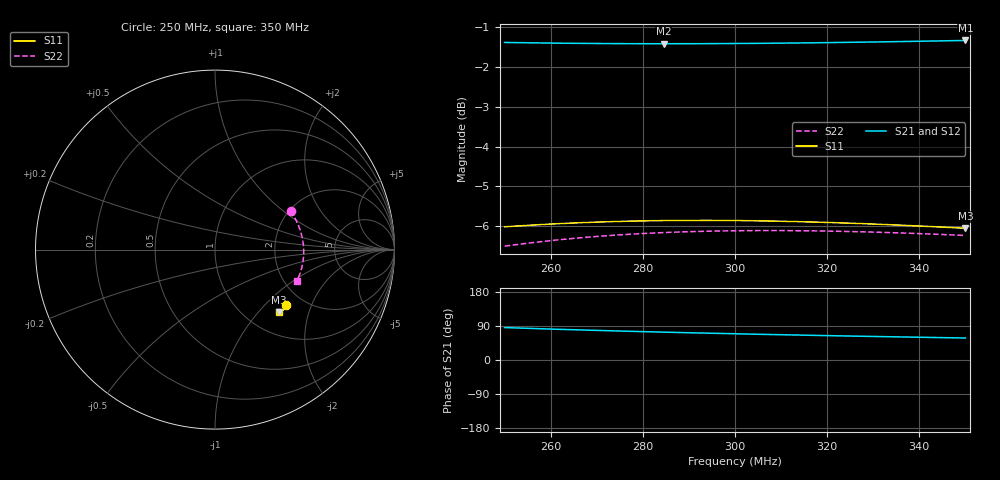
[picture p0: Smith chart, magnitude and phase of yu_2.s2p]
! Created Mon Nov 27 15:34:35 2023
# hz S ma R 50
! 2 Port Network Data from SP1.SP block
! freq  magS11  angS11  magS21  angS21  magS12  angS12  magS22  angS22
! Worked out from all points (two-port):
!   201 points, 250 MHz to 350 MHz, reference 50 ohm
!   highest |S21| = -1.34 dB at 350 MHz (marker M1); lowest = -1.4 dB at 284.5 MHz (marker M2)
!   |S21| within 3 dB of the highest: start of sweep to end of sweep
!   lowest |S11| = -6.1 dB at 350 MHz (marker M3), VSWR 2.99, Z = 70 - j65 ohm
!   |S11| at or under -10 dB: nowhere
!   |S22| runs from -6.5 to -6.1 dB; largest |S21 - S12| = 4.5e-09
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2.5e8  0.5004 -38.2  0.8523 85.5  0.8523 85.5  0.4731 27.2
2.54e8  0.5021 -38.2  0.8516 83.9  0.8516 83.9  0.4764 23.9
2.58e8  0.5036 -38.2  0.851 82.4  0.851 82.4  0.4794 20.9
2.625e8  0.5052 -38.3  0.8504 80.7  0.8504 80.7  0.4824 17.7
2.67e8  0.5065 -38.5  0.8499 79.1  0.8499 79.1  0.485 14.7
2.71e8  0.5074 -38.6  0.8496 77.7  0.8496 77.7  0.4871 12.2
2.75e8  0.5082 -38.8  0.8494 76.4  0.8494 76.4  0.4889 9.8
2.79e8  0.5089 -39.0  0.8492 75.2  0.8492 75.2  0.4904 7.6
2.835e8  0.5093 -39.3  0.8491 73.8  0.8491 73.8  0.4918 5.1
2.845e8  0.5094 -39.3  0.8491 73.5  0.8491 73.5  0.4921 4.6
2.88e8  0.5096 -39.6  0.8492 72.5  0.8492 72.5  0.4929 2.8
2.92e8  0.5097 -39.8  0.8493 71.3  0.8493 71.3  0.4937 0.9
2.96e8  0.5097 -40.1  0.8494 70.3  0.8494 70.3  0.4943 -1.0
3e8  0.5095 -40.4  0.8497 69.2  0.8497 69.2  0.4947 -2.8
3.045e8  0.5091 -40.7  0.85 68.0  0.85 68.0  0.4949 -4.7
3.085e8  0.5087 -41.0  0.8504 67.0  0.8504 67.0  0.495 -6.4
3.13e8  0.508 -41.4  0.8509 65.9  0.8509 65.9  0.4948 -8.2
3.17e8  0.5073 -41.7  0.8514 65.0  0.8514 65.0  0.4945 -9.7
3.25e8  0.5056 -42.3  0.8526 63.2  0.8526 63.2  0.4936 -12.6
3.335e8  0.5034 -43.1  0.854 61.3  0.854 61.3  0.4921 -15.5
3.415e8  0.501 -43.7  0.8555 59.7  0.8555 59.7  0.4903 -18.1
3.5e8  0.4982 -44.4  0.8572 58.0  0.8572 58.0  0.488 -20.7
